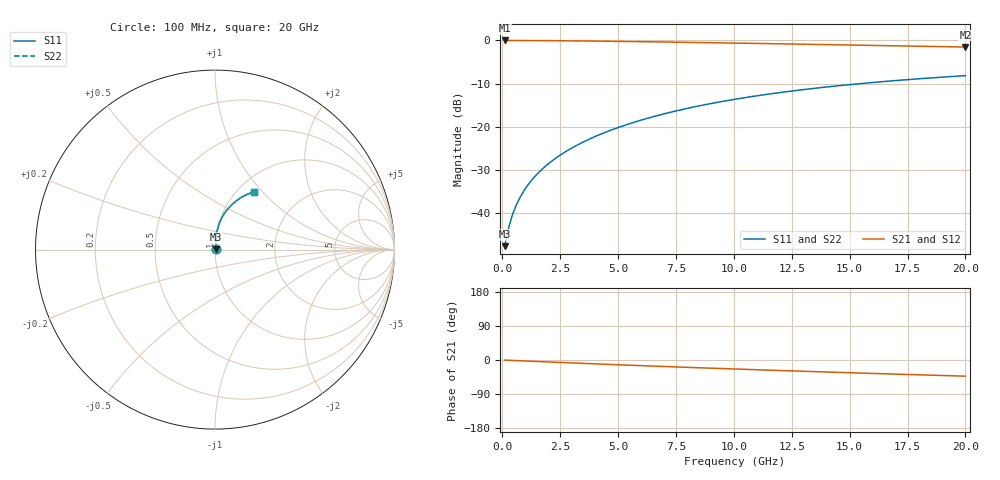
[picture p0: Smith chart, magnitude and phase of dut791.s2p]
! Touchstone file exported from HFSS 2024.1.0
!  File:  C:/UserFiles/LocalFiles/RDL_TSV_Batchsim/temp_RDL_top_791_1779853402.aedt
!  Generated:  11:45:53 AM May 27, 2026
!  Design:  RDL_top
!  Project:  temp_RDL_top_791_1779853402
!  Setup:  Setup1
!  Solution:  Sweep
! Variables:
!  dtsv = 10.80580581um
!  hbump = 3um
!  htsv = 86.12um
!  ldown = 100um
!  lrdl = 565.84um
!  p = 40
!  p1 = 58.8um
!  rhole = 1um
!  t = 450um
!  tdown = 3.915915916um
!  trdl = 2.38um
!  wdown = 15.38538539um
!  wrdl = 25.53um
# GHz S MA R 50.000000
! Terminal data exported
! Port[1] = Box2_T1
! Port[2] = Box2_T2
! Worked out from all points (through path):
!   200 points, 100 MHz to 20 GHz, reference 50 ohm
!   highest |S21| = -0.03 dB at 100 MHz (marker M1); lowest = -1.6 dB at 20 GHz (marker M2)
!   group delay of S21, straight-line fit = 5.88 ps
!   lowest |S11| = -47.6 dB at 100 MHz (marker M3), VSWR 1.01, Z = 50.4 + j0.207 ohm
!   |S11| at or under -10 dB: start of sweep to 15.49 GHz
!   |S22| runs from -47.6 to -8.2 dB; largest |S21 - S12| = 3.4e-15
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0.1  0.004153 29.6  0.9964 -0.3  0.9964 -0.3  0.004154 29.6
! Gamma 0 0 0 0
! Port Impedance 50 0 50 0
0.3  0.007151 57.1  0.996 -0.8  0.996 -0.8  0.007151 57.1
0.4  0.008867 62.9  0.9958 -1.1  0.9958 -1.1  0.008867 62.9
0.5  0.0106 66.7  0.9956 -1.3  0.9956 -1.3  0.0106 66.7
0.6  0.01233 69.5  0.9953 -1.6  0.9953 -1.6  0.01233 69.5
0.8  0.01581 73.5  0.9948 -2.1  0.9948 -2.1  0.01581 73.5
1.1  0.02109 77.2  0.9941 -2.9  0.9941 -2.9  0.02109 77.2
1.3  0.02467 78.9  0.9935 -3.4  0.9935 -3.4  0.02467 78.9
1.6  0.03011 80.7  0.9926 -4.2  0.9926 -4.2  0.03011 80.7
2.1  0.03939 82.6  0.9907 -5.5  0.9907 -5.5  0.03939 82.6
2.7  0.05085 83.8  0.9879 -7.0  0.9879 -7.0  0.05085 83.8
3.5  0.06669 84.4  0.9834 -9.0  0.9834 -9.0  0.06668 84.4
4.2  0.08102 84.4  0.9788 -10.7  0.9788 -10.7  0.08101 84.4
5  0.09786 83.9  0.973 -12.6  0.973 -12.6  0.09785 83.8
5.9  0.1173 82.9  0.9659 -14.7  0.9659 -14.7  0.1173 82.8
6.8  0.137 81.5  0.9583 -16.8  0.9583 -16.8  0.137 81.5
8.4  0.1722 78.7  0.9442 -20.3  0.9442 -20.3  0.1722 78.7
10.1  0.2091 75.3  0.9287 -23.9  0.9287 -23.9  0.2091 75.3
11.7  0.2427 72.0  0.9138 -27.2  0.9138 -27.2  0.2427 72.0
13.4  0.2769 68.5  0.8978 -30.5  0.8978 -30.5  0.2768 68.5
16.7  0.3375 61.9  0.8666 -36.8  0.8666 -36.8  0.3374 61.9
20  0.3903 55.7  0.836 -42.7  0.836 -42.7  0.3902 55.7
